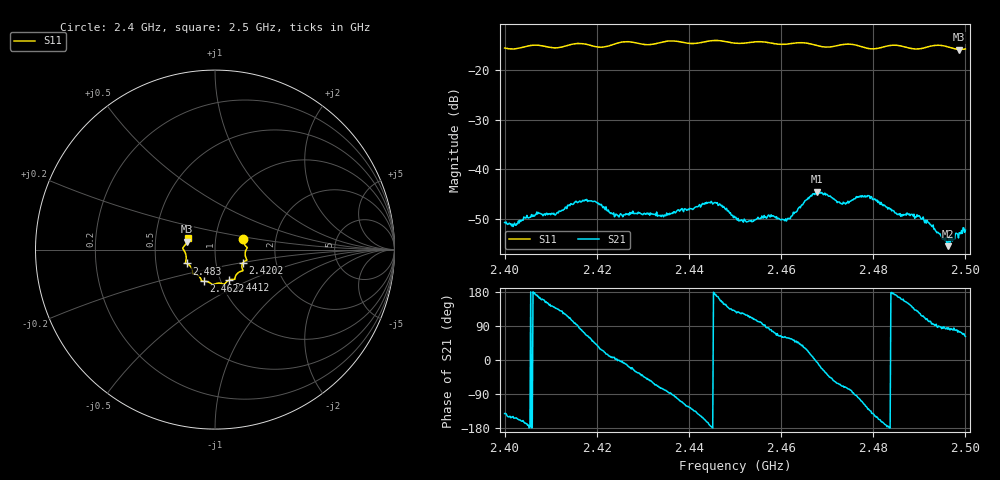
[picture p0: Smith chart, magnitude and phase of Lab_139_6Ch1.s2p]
# Hz S RI R 50
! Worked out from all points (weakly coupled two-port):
!   601 points, 2.4 GHz to 2.5 GHz, reference 50 ohm
!   highest |S21| = -44.56 dB at 2.4678 GHz (marker M1); lowest = -55.6 dB at 2.4962 GHz (marker M2)
!   lowest |S11| = -15.8 dB at 2.4987 GHz (marker M3), VSWR 1.39, Z = 36.3 + j3.25 ohm
!   |S11| at or under -10 dB: start of sweep to end of sweep
!   S12 and S22 are empty: the file has one direction only
!   S11 on the Smith chart (normalised r, x): 2.4 GHz: 1.36, +0.17; 2.4202 GHz: 1.35, -0.20; 2.4412 GHz: 1.09, -0.39; 2.4622 GHz: 0.83, -0.30; 2.483 GHz: 0.72, -0.11; 2.5 GHz: 0.73, +0.09
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2.4e9  0.1572 0.0607  -0.00226 -0.00181  0 0  0 0
2.402e9  0.1606 0.037  -0.00247 -0.00123  0 0  0 0
2.411167e9  0.168 -0.0201  -0.00253 0.00244  0 0  0 0
2.416667e9  0.1775 -0.059  0.000806 0.00461  0 0  0 0
2.420167e9  0.1568 -0.0719  0.00362 0.00273  0 0  0 0
2.424333e9  0.1531 -0.1095  0.00346 0.000179  0 0  0 0
2.433333e9  0.1129 -0.1518  0.00121 -0.00318  0 0  0 0
2.441167e9  0.0757 -0.1715  -0.00285 -0.0029  0 0  0 0
2.445667e9  0.0521 -0.1941  -0.00458 0.00059  0 0  0 0
2.45e9  0.0271 -0.1869  -0.00203 0.00252  0 0  0 0
2.452833e9  0.000423 -0.1909  -0.00126 0.00268  0 0  0 0
2.462167e9  -0.0628 -0.1762  0.00186 0.00277  0 0  0 0
2.466667e9  -0.0774 -0.1675  0.00529 0.000993  0 0  0 0
2.467833e9  -0.081 -0.1588  0.00588 -0.000608  0 0  0 0
2.4735e9  -0.1232 -0.1355  0.00168 -0.00433  0 0  0 0
2.479167e9  -0.1309 -0.1022  -0.00364 -0.00396  0 0  0 0
2.483e9  -0.1587 -0.0774  -0.00412 -0.000276  0 0  0 0
2.483333e9  -0.1605 -0.0765  -0.00407 -0.000277  0 0  0 0
2.490333e9  -0.1652 -0.0192  -0.00152 0.00279  0 0  0 0
2.496167e9  -0.1722 0.0179  0.000252 0.00165  0 0  0 0
2.498667e9  -0.1569 0.0436  0.000637 0.00219  0 0  0 0
2.5e9  -0.1532 0.0619  0.00114 0.00214  0 0  0 0
